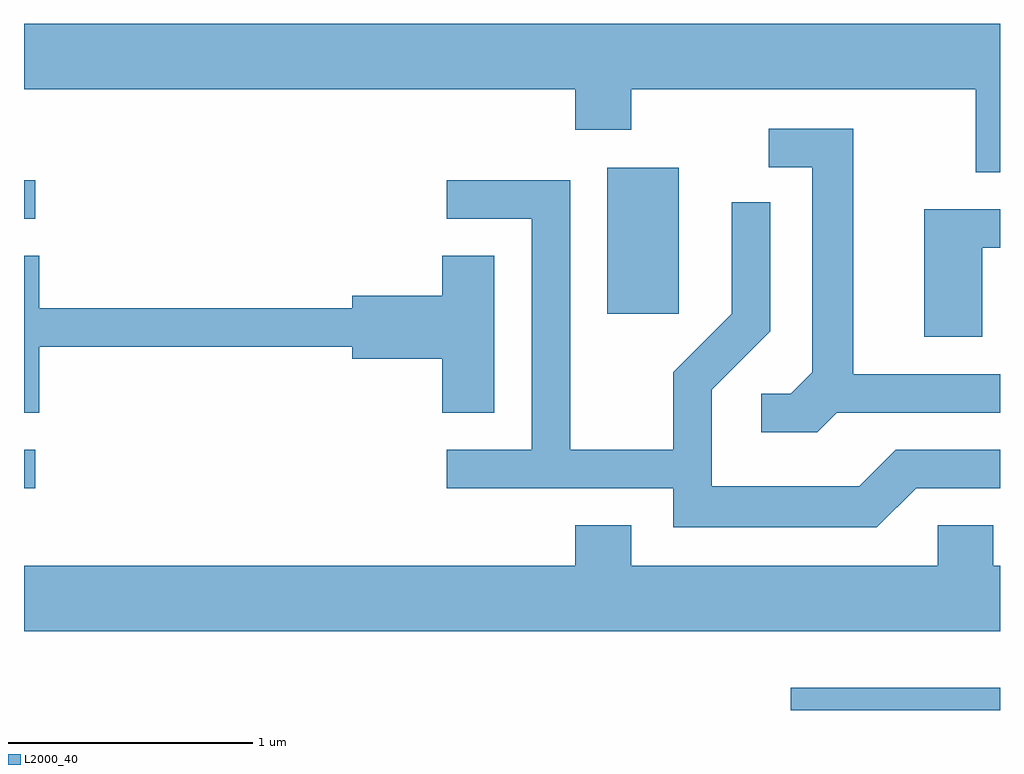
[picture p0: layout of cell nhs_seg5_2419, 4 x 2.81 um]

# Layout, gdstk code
import gdstk
lib = gdstk.Library(unit=1e-6, precision=1e-09)
def R(c, l, rs):  # rectangles x0, y0, x1, y1
    for r in rs: c.add(gdstk.rectangle(r[:2], r[2:], *l))
def P(c, l, *ps):  # polygons
    for p in ps: c.add(gdstk.Polygon(p, *l))
L2000_40 = (2000, 40)

nhs_seg5_2419 = lib.new_cell('nhs_seg5_2419')
R(nhs_seg5_2419, L2000_40, [(260.753,1412.072,261.611,1412.164), (257.611,1412.981,257.658,1413.139), (260.001,1413.696,260.294,1414.294), (257.611,1414.086,257.658,1414.244)])
P(nhs_seg5_2419, L2000_40, [(261.611,1414.884),(257.611,1414.884),(257.611,1414.616),(259.871,1414.616),(259.871,1414.451),(260.099,1414.451),(260.099,1414.616),(261.511,1414.616),(261.511,1414.276),(261.611,1414.276)],
  [(260.942,1413.291),(261.611,1413.291),(261.611,1413.449),(261.009,1413.449),(261.009,1414.454),(260.663,1414.454),(260.663,1414.296),(260.841,1414.296),(260.841,1413.457),(260.754,1413.369),(260.633,1413.369),(260.633,1413.211),(260.861,1413.211)],
  [(261.267,1412.981),(261.611,1412.981),(261.611,1413.139),(261.183,1413.139),(261.034,1412.989),(260.429,1412.989),(260.429,1413.384),(260.669,1413.624),(260.669,1414.153),(260.511,1414.153),(260.511,1413.697),(260.271,1413.457),(260.271,1413.139),(259.849,1413.139),(259.849,1414.244),(259.343,1414.244),(259.343,1414.086),(259.691,1414.086),(259.691,1413.139),(259.343,1413.139),(259.343,1412.981),(260.271,1412.981),(260.271,1412.821),(261.106,1412.821)],
  [(261.539,1413.966),(261.611,1413.966),(261.611,1414.124),(261.301,1414.124),(261.301,1413.601),(261.539,1413.601)],
  [(257.674,1413.561),(258.956,1413.561),(258.956,1413.511),(259.326,1413.511),(259.326,1413.291),(259.539,1413.291),(259.539,1413.934),(259.326,1413.934),(259.326,1413.769),(258.956,1413.769),(258.956,1413.719),(257.674,1413.719),(257.674,1413.934),(257.611,1413.934),(257.611,1413.291),(257.674,1413.291)],
  [(261.611,1412.664),(261.584,1412.664),(261.584,1412.829),(261.356,1412.829),(261.356,1412.664),(260.099,1412.664),(260.099,1412.829),(259.871,1412.829),(259.871,1412.664),(257.611,1412.664),(257.611,1412.396),(261.611,1412.396)])

lib.write_gds('nhs_seg5_2419.gds')
